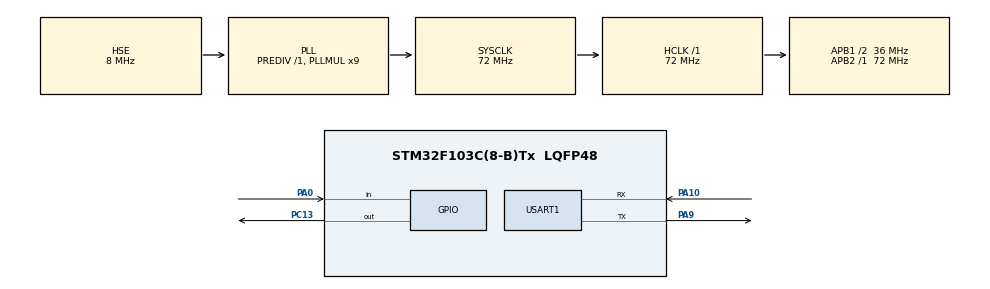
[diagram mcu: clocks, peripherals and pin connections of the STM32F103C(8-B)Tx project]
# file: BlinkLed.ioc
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Mcu.Family=STM32F1
Mcu.Name=STM32F103C(8-B)Tx
Mcu.Package=LQFP48
NVIC.PriorityGroup=NVIC_PRIORITYGROUP_4
PA0-WKUP.GPIO_PuPd=GPIO_PULLUP
PA0-WKUP.Signal=GPIO_Input
PA10.Mode=Asynchronous
PA10.Signal=USART1_RX
PA13.Mode=Serial_Wire
PA13.Signal=SYS_JTMS-SWDIO
PA14.Mode=Serial_Wire
PA14.Signal=SYS_JTCK-SWCLK
PA9.Mode=Asynchronous
PA9.Signal=USART1_TX
PC13-TAMPER-RTC.Signal=GPIO_Output
PD0-OSC_IN.Mode=HSE-External-Oscillator
PD0-OSC_IN.Signal=RCC_OSC_IN
PD1-OSC_OUT.Mode=HSE-External-Oscillator
PD1-OSC_OUT.Signal=RCC_OSC_OUT
ProjectManager.HeapSize=0x200
ProjectManager.StackSize=0x400
ProjectManager.TargetToolchain=MDK-ARM V5
RCC.AHBFreq_Value=72000000
RCC.APB1CLKDivider=RCC_HCLK_DIV2
RCC.APB1Freq_Value=36000000
RCC.APB1TimFreq_Value=72000000
RCC.APB2Freq_Value=72000000
RCC.APB2TimFreq_Value=72000000
RCC.HCLKFreq_Value=72000000
RCC.PLLMUL=RCC_PLL_MUL9
RCC.PLLSourceVirtual=RCC_PLLSOURCE_HSE
RCC.SYSCLKFreq_VALUE=72000000
RCC.SYSCLKSource=RCC_SYSCLKSOURCE_PLLCLK
RCC.USBFreq_Value=72000000
USART1.VirtualMode=VM_ASYNC
board=custom

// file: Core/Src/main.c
/* USER CODE BEGIN Header */
/**
  ******************************************************************************
  * @file           : main.c
  * @brief          : Main program body
  ******************************************************************************
  * @attention
  *
  * Copyright (c) 2023 STMicroelectronics.
  * All rights reserved.
  *
  * This software is licensed under terms that can be found in the LICENSE file
  * in the root directory of this software component.
  * If no LICENSE file comes with this software, it is provided AS-IS.
  *
  ******************************************************************************
  */
/* USER CODE END Header */
#include "main.h"

UART_HandleTypeDef huart1;

void SystemClock_Config(void);
static void MX_GPIO_Init(void);
static void MX_USART1_UART_Init(void);

/* USER CODE BEGIN 0 */
#include "button.h"
#include <stdarg.h>
#include <stdio.h>
#include "flash.h"
#include <string.h>
#define ADDR_COMMON_ADDR 0x801F800
#define ADDR_APP1_PROGRAM 0x8005000
#define ADDR_APP2_PROGRAM (ADDR_APP1_PROGRAM + ADDR_APP1_PROGRAM_SIZE*1024) //0x8012400
#define ADDR_APP1_PROGRAM_SIZE 53
Button_t btn_ota;

uint32_t ota_addr_start = ADDR_APP2_PROGRAM;

enum
{
	NORMAL_RESET,
	OTA_REQUEST_RESET
};
enum
{
	APP1_CURRENT,
	APP2_CURRENT
};
typedef struct
{
	uint8_t used1;
	uint8_t used2;
	uint8_t reset_cause;
	uint8_t app_current;
} ota_infor_t;
ota_infor_t ota_infor;

void my_printf(const char* str, ...)
{
	char stringArray[100];

  va_list args;
  va_start(args, str);
  uint8_t len_str = vsprintf(stringArray, str, args);
  va_end(args);

	HAL_UART_Transmit(&huart1,(uint8_t*)stringArray, len_str, 100);
}
void btn_pressing_timeout_callback(Button_t *btn,uint16_t time_press)
{
	my_printf("App: Btn_pressing_timeout_callback\n");
	ota_infor.reset_cause = OTA_REQUEST_RESET;
	flash_unlock();
	flash_erase(1, ADDR_COMMON_ADDR);
	flash_write_arr(ADDR_COMMON_ADDR, &ota_infor, sizeof(ota_infor));
	flash_lock();
	NVIC_SystemReset();
}

/* USER CODE END 0 */

int main(void)
{
  /* USER CODE BEGIN 1 */
	flash_read_arr(ADDR_COMMON_ADDR, &ota_infor, sizeof(ota_infor));
	if(ota_infor.app_current == APP1_CURRENT)
	{
		SCB->VTOR = ADDR_APP1_PROGRAM;
	}
	else
	{
		SCB->VTOR = ADDR_APP2_PROGRAM;
	}
  /* USER CODE END 1 */

  /* MCU Configuration--------------------------------------------------------*/

  /* Reset of all peripherals, Initializes the Flash interface and the Systick. */
  HAL_Init();

  /* Configure the system clock */
  SystemClock_Config();

  /* Initialize all configured peripherals */
  MX_GPIO_Init();
  MX_USART1_UART_Init();
  /* USER CODE BEGIN 2 */
	button_init(&btn_ota, GPIOA, GPIO_PIN_0);
	my_printf("App: Program Application Start!\n");
	my_printf("App: App_current: App: %d, Addr: %x\n", ota_infor.app_current,
						ota_infor.app_current == APP1_CURRENT? ADDR_APP1_PROGRAM:ADDR_APP2_PROGRAM);
  /* USER CODE END 2 */

  /* Infinite loop */
  while (1)
  {

    /* USER CODE BEGIN 3 */
		button_handle(&btn_ota);
		static uint32_t t_old;
		if(HAL_GetTick() - t_old == 1000)
		{
			HAL_GPIO_TogglePin(GPIOC, GPIO_PIN_13);
			t_old = HAL_GetTick();
		}
  }
  /* USER CODE END 3 */
}

void SystemClock_Config(void)
{
  RCC_OscInitTypeDef RCC_OscInitStruct = {0};
  RCC_ClkInitTypeDef RCC_ClkInitStruct = {0};

  /** Initializes the RCC Oscillators according to the specified parameters
  * in the RCC_OscInitTypeDef structure.
  */
  RCC_OscInitStruct.OscillatorType = RCC_OSCILLATORTYPE_HSE;
  RCC_OscInitStruct.HSEState = RCC_HSE_ON;
  RCC_OscInitStruct.HSEPredivValue = RCC_HSE_PREDIV_DIV1;
  RCC_OscInitStruct.HSIState = RCC_HSI_ON;
  RCC_OscInitStruct.PLL.PLLState = RCC_PLL_ON;
  RCC_OscInitStruct.PLL.PLLSource = RCC_PLLSOURCE_HSE;
  RCC_OscInitStruct.PLL.PLLMUL = RCC_PLL_MUL9;
  if (HAL_RCC_OscConfig(&RCC_OscInitStruct) != HAL_OK)
  {
    Error_Handler();
  }

  /** Initializes the CPU, AHB and APB buses clocks
  */
  RCC_ClkInitStruct.ClockType = RCC_CLOCKTYPE_HCLK|RCC_CLOCKTYPE_SYSCLK
                              |RCC_CLOCKTYPE_PCLK1|RCC_CLOCKTYPE_PCLK2;
  RCC_ClkInitStruct.SYSCLKSource = RCC_SYSCLKSOURCE_PLLCLK;
  RCC_ClkInitStruct.AHBCLKDivider = RCC_SYSCLK_DIV1;
  RCC_ClkInitStruct.APB1CLKDivider = RCC_HCLK_DIV2;
  RCC_ClkInitStruct.APB2CLKDivider = RCC_HCLK_DIV1;

  if (HAL_RCC_ClockConfig(&RCC_ClkInitStruct, FLASH_LATENCY_2) != HAL_OK)
  {
    Error_Handler();
  }
}

static void MX_USART1_UART_Init(void)
{

  huart1.Instance = USART1;
  huart1.Init.BaudRate = 115200;
  huart1.Init.WordLength = UART_WORDLENGTH_8B;
  huart1.Init.StopBits = UART_STOPBITS_1;
  huart1.Init.Parity = UART_PARITY_NONE;
  huart1.Init.Mode = UART_MODE_TX_RX;
  huart1.Init.HwFlowCtl = UART_HWCONTROL_NONE;
  huart1.Init.OverSampling = UART_OVERSAMPLING_16;
  if (HAL_UART_Init(&huart1) != HAL_OK)
  {
    Error_Handler();
  }

}

static void MX_GPIO_Init(void)
{
  GPIO_InitTypeDef GPIO_InitStruct = {0};

  /* GPIO Ports Clock Enable */
  __HAL_RCC_GPIOC_CLK_ENABLE();
  __HAL_RCC_GPIOD_CLK_ENABLE();
  __HAL_RCC_GPIOA_CLK_ENABLE();

  /*Configure GPIO pin Output Level */
  HAL_GPIO_WritePin(GPIOC, GPIO_PIN_13, GPIO_PIN_RESET);

  /*Configure GPIO pin : PC13 */
  GPIO_InitStruct.Pin = GPIO_PIN_13;
  GPIO_InitStruct.Mode = GPIO_MODE_OUTPUT_PP;
  GPIO_InitStruct.Pull = GPIO_NOPULL;
  GPIO_InitStruct.Speed = GPIO_SPEED_FREQ_LOW;
  HAL_GPIO_Init(GPIOC, &GPIO_InitStruct);

  /*Configure GPIO pin : PA0 */
  GPIO_InitStruct.Pin = GPIO_PIN_0;
  GPIO_InitStruct.Mode = GPIO_MODE_INPUT;
  GPIO_InitStruct.Pull = GPIO_PULLUP;
  HAL_GPIO_Init(GPIOA, &GPIO_InitStruct);

}

void Error_Handler(void)
{
  __disable_irq();
  while (1)
  {
  }
}
